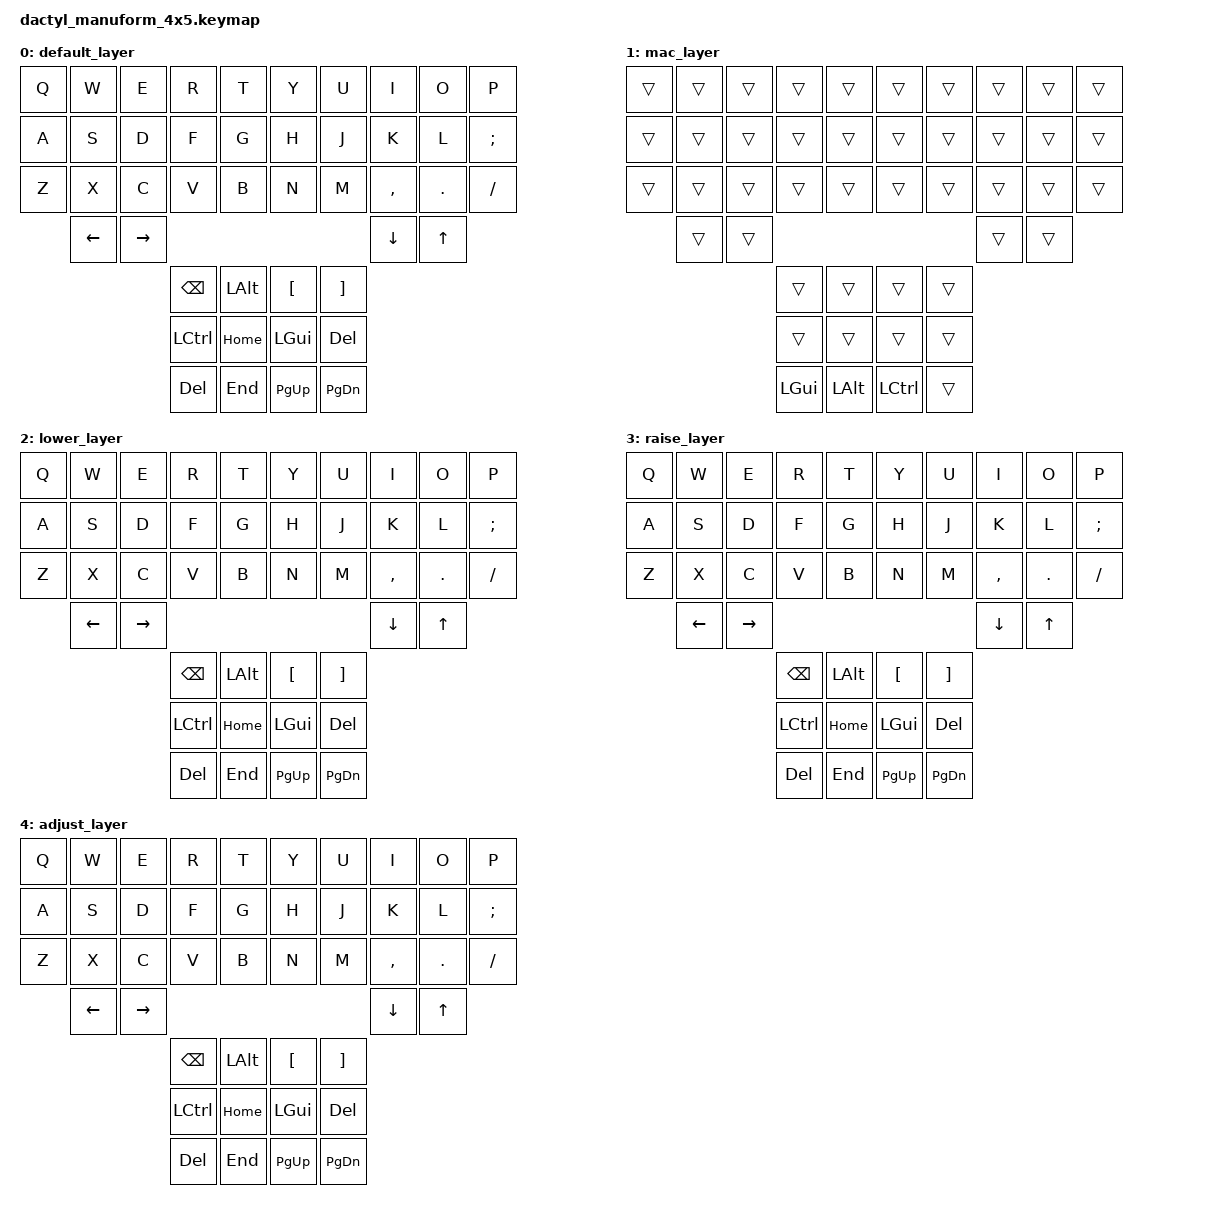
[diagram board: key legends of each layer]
#include <behaviors.dtsi>
#include <dt-bindings/zmk/keys.h>
#include <dt-bindings/zmk/bt.h>
#include <dt-bindings/zmk/outputs.h>

#define DEFAULT 0
#define MAC     1
#define LOWER   2
#define RAISE   3
#define ADJUST  4

#define HYPER(key) LS(LC(LA(LG(key))))
#define MEH(key)   LS(LC(LA(key)))

&sl {
    release-after-ms = <5000>;
};

&kscan0 {
    debounce-press-ms = <30>;
    debounce-release-ms = <30>;
};

/ {
    keymap {
        compatible = "zmk,keymap";

        default_layer {
            bindings = <
    &kp Q     &kp W    &kp E     &kp R     &kp T           &kp Y     &kp U     &kp I     &kp O     &kp P
    &kp A     &kp S    &kp D     &kp F     &kp G           &kp H     &kp J     &kp K     &kp L     &kp SEMI
    &kp Z     &kp X    &kp C     &kp V     &kp B           &kp N     &kp M     &kp COMMA &kp DOT   &kp FSLH
              &kp LEFT &kp RIGHT                                               &kp DOWN  &kp UP
                                 &kp BSPC  &kp LALT        &kp LBKT  &kp RBKT
                                 &kp LCTRL &kp HOME        &kp LGUI  &kp DEL
                                 &kp DEL   &kp END         &kp PG_UP &kp PG_DN
            >;
        };

        mac_layer {
            bindings = <
    &trans   &trans     &trans     &trans     &trans       &trans     &trans    &trans    &trans    &trans
    &trans   &trans     &trans     &trans     &trans       &trans     &trans    &trans    &trans    &trans
    &trans   &trans     &trans     &trans     &trans       &trans     &trans    &trans    &trans    &trans
             &trans     &trans                                                  &trans    &trans
                                   &trans     &trans       &trans     &trans
                                   &trans     &trans       &trans     &trans
                                   &kp LGUI   &kp LALT     &kp LCTRL  &trans
            >;
        };

        lower_layer {
            bindings = <
    &kp Q     &kp W    &kp E     &kp R     &kp T           &kp Y     &kp U     &kp I     &kp O     &kp P
    &kp A     &kp S    &kp D     &kp F     &kp G           &kp H     &kp J     &kp K     &kp L     &kp SEMI
    &kp Z     &kp X    &kp C     &kp V     &kp B           &kp N     &kp M     &kp COMMA &kp DOT   &kp FSLH
              &kp LEFT &kp RIGHT                                               &kp DOWN  &kp UP
                                 &kp BSPC  &kp LALT        &kp LBKT  &kp RBKT
                                 &kp LCTRL &kp HOME        &kp LGUI  &kp DEL
                                 &kp DEL   &kp END         &kp PG_UP &kp PG_DN
            >;       };

        raise_layer {
            bindings = <
    &kp Q     &kp W    &kp E     &kp R     &kp T           &kp Y     &kp U     &kp I     &kp O     &kp P
    &kp A     &kp S    &kp D     &kp F     &kp G           &kp H     &kp J     &kp K     &kp L     &kp SEMI
    &kp Z     &kp X    &kp C     &kp V     &kp B           &kp N     &kp M     &kp COMMA &kp DOT   &kp FSLH
              &kp LEFT &kp RIGHT                                               &kp DOWN  &kp UP
                                 &kp BSPC  &kp LALT        &kp LBKT  &kp RBKT
                                 &kp LCTRL &kp HOME        &kp LGUI  &kp DEL
                                 &kp DEL   &kp END         &kp PG_UP &kp PG_DN
            >;
        };

        adjust_layer {
            bindings = <
    &kp Q     &kp W    &kp E     &kp R     &kp T           &kp Y     &kp U     &kp I     &kp O     &kp P
    &kp A     &kp S    &kp D     &kp F     &kp G           &kp H     &kp J     &kp K     &kp L     &kp SEMI
    &kp Z     &kp X    &kp C     &kp V     &kp B           &kp N     &kp M     &kp COMMA &kp DOT   &kp FSLH
              &kp LEFT &kp RIGHT                                               &kp DOWN  &kp UP
                                 &kp BSPC  &kp LALT        &kp LBKT  &kp RBKT
                                 &kp LCTRL &kp HOME        &kp LGUI  &kp DEL
                                 &kp DEL   &kp END         &kp PG_UP &kp PG_DN
            >;
        };
    };
};
